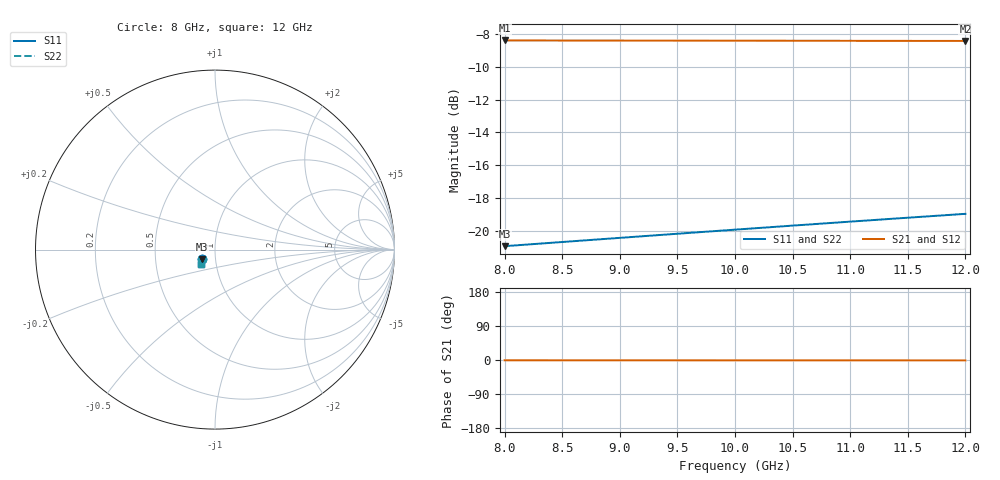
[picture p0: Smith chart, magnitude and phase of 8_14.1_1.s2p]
! Created Wed Oct 21 16:14:15 2020
# ghz S db R 50
! 2 Port Network Data from SP1.SP block
! freq  dbS11  angS11  dbS21  angS21  dbS12  angS12  dbS22  angS22
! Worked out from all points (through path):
!   9 points, 8 GHz to 12 GHz, reference 50 ohm
!   highest |S21| = -8.41 dB at 8 GHz (marker M1); lowest = -8.4 dB at 12 GHz (marker M2)
!   lowest |S11| = -20.9 dB at 8 GHz (marker M3), VSWR 1.20, Z = 43.1 - j4.79 ohm
!   |S11| at or under -10 dB: start of sweep to end of sweep
!   |S22| runs from -20.9 to -19.0 dB; largest |S21 - S12| = 5e-16
8  -20.92 -142.3  -8.41 -0.8  -8.41 -0.8  -20.92 -142.3
8.5  -20.67 -140.9  -8.41 -0.8  -8.41 -0.8  -20.67 -140.9
9  -20.42 -139.7  -8.41 -0.8  -8.41 -0.8  -20.42 -139.7
9.5  -20.17 -138.6  -8.42 -0.9  -8.42 -0.9  -20.17 -138.6
10  -19.92 -137.5  -8.42 -0.9  -8.42 -0.9  -19.92 -137.5
10.5  -19.67 -136.5  -8.43 -1.0  -8.43 -1.0  -19.67 -136.5
11  -19.43 -135.7  -8.43 -1.0  -8.43 -1.0  -19.43 -135.7
11.5  -19.19 -134.8  -8.43 -1.0  -8.43 -1.0  -19.19 -134.8
12  -18.95 -134.1  -8.44 -1.1  -8.44 -1.1  -18.95 -134.1
